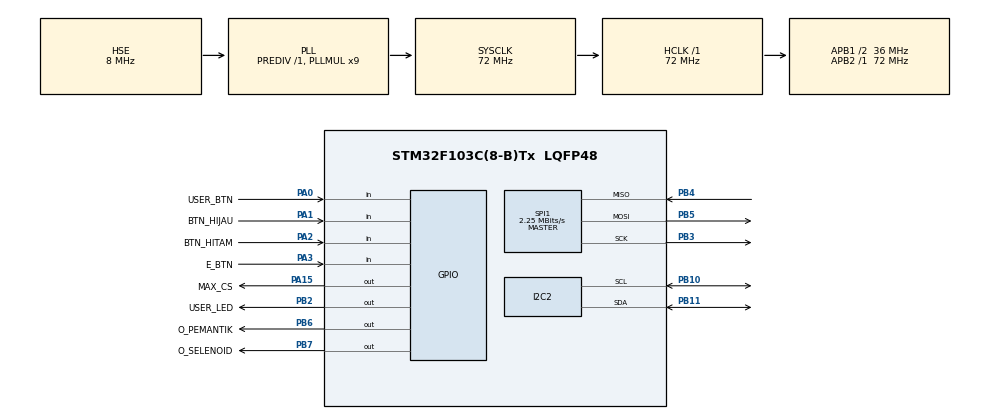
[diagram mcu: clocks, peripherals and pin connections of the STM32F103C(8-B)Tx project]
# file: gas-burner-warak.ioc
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ADC1.Channel-1\#ChannelRegularConversion=ADC_CHANNEL_TEMPSENSOR
ADC1.NbrOfConversionFlag=1
ADC1.Rank-1\#ChannelRegularConversion=1
ADC1.SamplingTime-1\#ChannelRegularConversion=ADC_SAMPLETIME_1CYCLE_5
ADC1.master=1
FREERTOS.Mutexes01=systemDataMutex,Dynamic,NULL,Available
FREERTOS.Tasks01=ReadTempTask,24,256,StartReadTempTask,Default,NULL,Dynamic,NULL,NULL;ControlTask,8,512,StartControlTask,Default,NULL,Dynamic,NULL,NULL;UpdateLCDTask,8,512,StartUpdateLCDTask,Default,NULL,Dynamic,NULL,NULL
FREERTOS.configMAX_TASK_NAME_LEN=32
FREERTOS.configTOTAL_HEAP_SIZE=8192
FREERTOS.configUSE_NEWLIB_REENTRANT=1
Mcu.Family=STM32F1
Mcu.Name=STM32F103C(8-B)Tx
Mcu.Package=LQFP48
NVIC.PriorityGroup=NVIC_PRIORITYGROUP_4
NVIC.TIM4_IRQn=true\:15\:0\:false\:false\:true\:false\:false\:true\:true
NVIC.TimeBase=TIM4_IRQn
NVIC.TimeBaseIP=TIM4
PA0-WKUP.GPIO_Label=USER_BTN
PA0-WKUP.GPIO_PuPd=GPIO_PULLDOWN
PA0-WKUP.Signal=GPIO_Input
PA1.GPIO_Label=BTN_HIJAU
PA1.GPIO_Mode=GPIO_MODE_INPUT
PA1.GPIO_PuPd=GPIO_PULLUP
PA1.Signal=GPIO_Input
PA13.Mode=Serial_Wire
PA13.Signal=SYS_JTMS-SWDIO
PA14.Mode=Serial_Wire
PA14.Signal=SYS_JTCK-SWCLK
PA15.GPIO_Label=MAX_CS
PA15.Signal=GPIO_Output
PA2.GPIO_Label=BTN_HITAM
PA2.GPIO_Mode=GPIO_MODE_INPUT
PA2.GPIO_PuPd=GPIO_PULLUP
PA2.Signal=GPIO_Input
PA3.GPIO_Label=E_BTN
PA3.GPIO_Mode=GPIO_MODE_INPUT
PA3.GPIO_PuPd=GPIO_PULLUP
PA3.Signal=GPIO_Input
PB10.Mode=I2C
PB10.Signal=I2C2_SCL
PB11.Mode=I2C
PB11.Signal=I2C2_SDA
PB2.GPIO_Label=USER_LED
PB2.Signal=GPIO_Output
PB3.Mode=Full_Duplex_Master
PB3.Signal=SPI1_SCK
PB4.Mode=Full_Duplex_Master
PB4.Signal=SPI1_MISO
PB5.Mode=Full_Duplex_Master
PB5.Signal=SPI1_MOSI
PB6.GPIO_Label=O_PEMANTIK
PB6.Signal=GPIO_Output
PB7.GPIO_Label=O_SELENOID
PB7.Signal=GPIO_Output
PC14-OSC32_IN.Mode=LSE-External-Oscillator
PC14-OSC32_IN.Signal=RCC_OSC32_IN
PC15-OSC32_OUT.Mode=LSE-External-Oscillator
PC15-OSC32_OUT.Signal=RCC_OSC32_OUT
PD0-OSC_IN.Mode=HSE-External-Oscillator
PD0-OSC_IN.Signal=RCC_OSC_IN
PD1-OSC_OUT.Mode=HSE-External-Oscillator
PD1-OSC_OUT.Signal=RCC_OSC_OUT
ProjectManager.HeapSize=0x200
ProjectManager.StackSize=0x400
ProjectManager.TargetToolchain=STM32CubeIDE
RCC.ADCPresc=RCC_ADCPCLK2_DIV6
RCC.AHBFreq_Value=72000000
RCC.APB1CLKDivider=RCC_HCLK_DIV2
RCC.APB1Freq_Value=36000000
RCC.APB1TimFreq_Value=72000000
RCC.APB2Freq_Value=72000000
RCC.APB2TimFreq_Value=72000000
RCC.HCLKFreq_Value=72000000
RCC.PLLMUL=RCC_PLL_MUL9
RCC.PLLSourceVirtual=RCC_PLLSOURCE_HSE
RCC.SYSCLKFreq_VALUE=72000000
RCC.SYSCLKSource=RCC_SYSCLKSOURCE_PLLCLK
RCC.USBFreq_Value=48000000
RCC.USBPrescaler=RCC_USBCLKSOURCE_PLL_DIV1_5
SPI1.BaudRatePrescaler=SPI_BAUDRATEPRESCALER_32
SPI1.CalculateBaudRate=2.25 MBits/s
SPI1.Direction=SPI_DIRECTION_2LINES
SPI1.Mode=SPI_MODE_MASTER
SPI1.VirtualType=VM_MASTER
VP_ADC1_TempSens_Input.Mode=IN-TempSens
VP_FREERTOS_VS_CMSIS_V2.Mode=CMSIS_V2
VP_SYS_VS_tim4.Mode=TIM4
board=custom

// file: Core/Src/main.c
/* USER CODE BEGIN Header */
/**
 ******************************************************************************
 * @file           : main.c
 * @brief          : Main program body
 ******************************************************************************
 * @attention
 *
 * Copyright (c) 2025 STMicroelectronics.
 * All rights reserved.
 *
 * This software is licensed under terms that can be found in the LICENSE file
 * in the root directory of this software component.
 * If no LICENSE file comes with this software, it is provided AS-IS.
 *
 ******************************************************************************
 */
/* USER CODE END Header */
#include "main.h"
#include "cmsis_os.h"

/* USER CODE BEGIN Includes */
#include "i2c-lcd.h"
#include "string.h"
#include "stdio.h"
/* USER CODE END Includes */

/* USER CODE BEGIN PD */
// --- Parameter Kontrol yang Dapat Disesuaikan ---
#define SET_POINT_TEMP 80.0f     // Setpoint suhu target dalam Celcius
#define HYSTERESIS 5.0f          // Histeresis untuk mencegah on/off terlalu cepat (pemanas menyala di bawah 75 C)
#define IGNITION_TIME_MS 3000    // Waktu pemantik menyala sebelum gas (3 detik)
#define IGNITION_OVERLAP_MS 1000 // Waktu pemantik & gas menyala bersamaan (1 detik)

/* USER CODE END PD */

ADC_HandleTypeDef hadc1;

I2C_HandleTypeDef hi2c2;

SPI_HandleTypeDef hspi1;

/* Definitions for ReadTempTask */
osThreadId_t ReadTempTaskHandle;
const osThreadAttr_t ReadTempTask_attributes = {
    .name = "ReadTempTask",
    .stack_size = 256 * 4,
    .priority = (osPriority_t)osPriorityNormal,
};
/* Definitions for ControlTask */
osThreadId_t ControlTaskHandle;
const osThreadAttr_t ControlTask_attributes = {
    .name = "ControlTask",
    .stack_size = 512 * 4,
    .priority = (osPriority_t)osPriorityLow,
};
/* Definitions for UpdateLCDTask */
osThreadId_t UpdateLCDTaskHandle;
const osThreadAttr_t UpdateLCDTask_attributes = {
    .name = "UpdateLCDTask",
    .stack_size = 512 * 4,
    .priority = (osPriority_t)osPriorityLow,
};
/* Definitions for systemDataMutex */
osMutexId_t systemDataMutexHandle;
const osMutexAttr_t systemDataMutex_attributes = {
    .name = "systemDataMutex"};
/* USER CODE BEGIN PV */

// --- Variabel Global yang Dishare antar Task ---
float currentTemperature = -1.0f;

typedef enum
{
  STATE_IDLE,
  STATE_IGNITING,
  STATE_HEATING,
  STATE_ERROR
} SystemState_t;

SystemState_t systemState = STATE_IDLE;

/* USER CODE END PV */

void SystemClock_Config(void);
static void MX_GPIO_Init(void);
static void MX_I2C2_Init(void);
static void MX_SPI1_Init(void);
static void MX_ADC1_Init(void);
void StartReadTempTask(void *argument);
void StartControlTask(void *argument);
void StartUpdateLCDTask(void *argument);

/* USER CODE BEGIN 0 */
void InitializeSystem()
{
  lcd_init(); // sudah diinisialisasi di main
  lcd_put_cur(0, 0);
  lcd_send_string("HELLO WORLD");
  lcd_put_cur(1, 0);
  lcd_send_string("from CTECH");

  HAL_GPIO_WritePin(O_PEMANTIK_GPIO_Port, O_PEMANTIK_Pin, GPIO_PIN_RESET);
  HAL_GPIO_WritePin(O_SELENOID_GPIO_Port, O_SELENOID_Pin, GPIO_PIN_RESET);

  osDelay(5000);
}
/* USER CODE END 0 */

int main(void)
{

  /* MCU Configuration--------------------------------------------------------*/

  /* Reset of all peripherals, Initializes the Flash interface and the Systick. */
  HAL_Init();

  /* Configure the system clock */
  SystemClock_Config();

  /* Initialize all configured peripherals */
  MX_GPIO_Init();
  MX_I2C2_Init();
  MX_SPI1_Init();
  MX_ADC1_Init();
  /* USER CODE BEGIN 2 */
  //  lcd_init();

  //// Display Number
  //  int num = 1234;
  //  char numChar[5];
  //  sprintf(numChar, "%d", num);
  //  lcd_put_cur(0, 0);
  //  lcd_send_string (numChar);

  //  lcd_init();
  //  float flt = 12.345;
  //  char fltChar[6];
  //  sprintf(fltChar, "%.3f", flt);
  //  lcd_put_cur(0, 0);
  //  lcd_send_string (fltChar);

  /* USER CODE END 2 */

  /* Init scheduler */
  osKernelInitialize();
  /* Create the mutex(es) */
  /* creation of systemDataMutex */
  systemDataMutexHandle = osMutexNew(&systemDataMutex_attributes);

  /* Create the thread(s) */
  /* creation of ReadTempTask */
  ReadTempTaskHandle = osThreadNew(StartReadTempTask, NULL, &ReadTempTask_attributes);

  /* creation of ControlTask */
  ControlTaskHandle = osThreadNew(StartControlTask, NULL, &ControlTask_attributes);

  /* creation of UpdateLCDTask */
  UpdateLCDTaskHandle = osThreadNew(StartUpdateLCDTask, NULL, &UpdateLCDTask_attributes);

  /* USER CODE BEGIN RTOS_THREADS */
  /* add threads, ... */
  if (ReadTempTaskHandle == NULL)
  {
    Error_Handler();
  }
  if (ControlTaskHandle == NULL)
  {
    Error_Handler();
  }
  if (UpdateLCDTaskHandle == NULL)
  {
    Error_Handler();
  }
  /* USER CODE END RTOS_THREADS */

  /* USER CODE BEGIN RTOS_EVENTS */
  /* add events, ... */
  // InitializeSystem();
  /* USER CODE END RTOS_EVENTS */

  /* Start scheduler */
  osKernelStart();

  /* We should never get here as control is now taken by the scheduler */

  /* Infinite loop */
  while (1)
  {

  }
}

void SystemClock_Config(void)
{
  RCC_OscInitTypeDef RCC_OscInitStruct = {0};
  RCC_ClkInitTypeDef RCC_ClkInitStruct = {0};
  RCC_PeriphCLKInitTypeDef PeriphClkInit = {0};

  /** Initializes the RCC Oscillators according to the specified parameters
   * in the RCC_OscInitTypeDef structure.
   */
  RCC_OscInitStruct.OscillatorType = RCC_OSCILLATORTYPE_HSE;
  RCC_OscInitStruct.HSEState = RCC_HSE_ON;
  RCC_OscInitStruct.HSEPredivValue = RCC_HSE_PREDIV_DIV1;
  RCC_OscInitStruct.HSIState = RCC_HSI_ON;
  RCC_OscInitStruct.PLL.PLLState = RCC_PLL_ON;
  RCC_OscInitStruct.PLL.PLLSource = RCC_PLLSOURCE_HSE;
  RCC_OscInitStruct.PLL.PLLMUL = RCC_PLL_MUL9;
  if (HAL_RCC_OscConfig(&RCC_OscInitStruct) != HAL_OK)
  {
    Error_Handler();
  }

  /** Initializes the CPU, AHB and APB buses clocks
   */
  RCC_ClkInitStruct.ClockType = RCC_CLOCKTYPE_HCLK | RCC_CLOCKTYPE_SYSCLK | RCC_CLOCKTYPE_PCLK1 | RCC_CLOCKTYPE_PCLK2;
  RCC_ClkInitStruct.SYSCLKSource = RCC_SYSCLKSOURCE_PLLCLK;
  RCC_ClkInitStruct.AHBCLKDivider = RCC_SYSCLK_DIV1;
  RCC_ClkInitStruct.APB1CLKDivider = RCC_HCLK_DIV2;
  RCC_ClkInitStruct.APB2CLKDivider = RCC_HCLK_DIV1;

  if (HAL_RCC_ClockConfig(&RCC_ClkInitStruct, FLASH_LATENCY_2) != HAL_OK)
  {
    Error_Handler();
  }
  PeriphClkInit.PeriphClockSelection = RCC_PERIPHCLK_ADC;
  PeriphClkInit.AdcClockSelection = RCC_ADCPCLK2_DIV6;
  if (HAL_RCCEx_PeriphCLKConfig(&PeriphClkInit) != HAL_OK)
  {
    Error_Handler();
  }
}

static void MX_ADC1_Init(void)
{

  ADC_ChannelConfTypeDef sConfig = {0};

  /** Common config
   */
  hadc1.Instance = ADC1;
  hadc1.Init.ScanConvMode = ADC_SCAN_DISABLE;
  hadc1.Init.ContinuousConvMode = DISABLE;
  hadc1.Init.DiscontinuousConvMode = DISABLE;
  hadc1.Init.ExternalTrigConv = ADC_SOFTWARE_START;
  hadc1.Init.DataAlign = ADC_DATAALIGN_RIGHT;
  hadc1.Init.NbrOfConversion = 1;
  if (HAL_ADC_Init(&hadc1) != HAL_OK)
  {
    Error_Handler();
  }

  /** Configure Regular Channel
   */
  sConfig.Channel = ADC_CHANNEL_TEMPSENSOR;
  sConfig.Rank = ADC_REGULAR_RANK_1;
  sConfig.SamplingTime = ADC_SAMPLETIME_1CYCLE_5;
  if (HAL_ADC_ConfigChannel(&hadc1, &sConfig) != HAL_OK)
  {
    Error_Handler();
  }
}

static void MX_I2C2_Init(void)
{

  hi2c2.Instance = I2C2;
  hi2c2.Init.ClockSpeed = 100000;
  hi2c2.Init.DutyCycle = I2C_DUTYCYCLE_2;
  hi2c2.Init.OwnAddress1 = 0;
  hi2c2.Init.AddressingMode = I2C_ADDRESSINGMODE_7BIT;
  hi2c2.Init.DualAddressMode = I2C_DUALADDRESS_DISABLE;
  hi2c2.Init.OwnAddress2 = 0;
  hi2c2.Init.GeneralCallMode = I2C_GENERALCALL_DISABLE;
  hi2c2.Init.NoStretchMode = I2C_NOSTRETCH_DISABLE;
  if (HAL_I2C_Init(&hi2c2) != HAL_OK)
  {
    Error_Handler();
  }
}

static void MX_SPI1_Init(void)
{

  /* SPI1 parameter configuration*/
  hspi1.Instance = SPI1;
  hspi1.Init.Mode = SPI_MODE_MASTER;
  hspi1.Init.Direction = SPI_DIRECTION_2LINES;
  hspi1.Init.DataSize = SPI_DATASIZE_8BIT;
  hspi1.Init.CLKPolarity = SPI_POLARITY_LOW;
  hspi1.Init.CLKPhase = SPI_PHASE_1EDGE;
  hspi1.Init.NSS = SPI_NSS_SOFT;
  hspi1.Init.BaudRatePrescaler = SPI_BAUDRATEPRESCALER_32;
  hspi1.Init.FirstBit = SPI_FIRSTBIT_MSB;
  hspi1.Init.TIMode = SPI_TIMODE_DISABLE;
  hspi1.Init.CRCCalculation = SPI_CRCCALCULATION_DISABLE;
  hspi1.Init.CRCPolynomial = 10;
  if (HAL_SPI_Init(&hspi1) != HAL_OK)
  {
    Error_Handler();
  }
}

static void MX_GPIO_Init(void)
{
  GPIO_InitTypeDef GPIO_InitStruct = {0};

  /* GPIO Ports Clock Enable */
  __HAL_RCC_GPIOC_CLK_ENABLE();
  __HAL_RCC_GPIOD_CLK_ENABLE();
  __HAL_RCC_GPIOA_CLK_ENABLE();
  __HAL_RCC_GPIOB_CLK_ENABLE();

  /*Configure GPIO pin Output Level */
  HAL_GPIO_WritePin(GPIOB, USER_LED_Pin | O_PEMANTIK_Pin | O_SELENOID_Pin, GPIO_PIN_RESET);

  /*Configure GPIO pin Output Level */
  HAL_GPIO_WritePin(MAX_CS_GPIO_Port, MAX_CS_Pin, GPIO_PIN_RESET);

  /*Configure GPIO pin : USER_BTN_Pin */
  GPIO_InitStruct.Pin = USER_BTN_Pin;
  GPIO_InitStruct.Mode = GPIO_MODE_INPUT;
  GPIO_InitStruct.Pull = GPIO_PULLDOWN;
  HAL_GPIO_Init(USER_BTN_GPIO_Port, &GPIO_InitStruct);

  /*Configure GPIO pins : BTN_HIJAU_Pin BTN_HITAM_Pin E_BTN_Pin */
  GPIO_InitStruct.Pin = BTN_HIJAU_Pin | BTN_HITAM_Pin | E_BTN_Pin;
  GPIO_InitStruct.Mode = GPIO_MODE_INPUT;
  GPIO_InitStruct.Pull = GPIO_PULLUP;
  HAL_GPIO_Init(GPIOA, &GPIO_InitStruct);

  /*Configure GPIO pins : USER_LED_Pin O_PEMANTIK_Pin O_SELENOID_Pin */
  GPIO_InitStruct.Pin = USER_LED_Pin | O_PEMANTIK_Pin | O_SELENOID_Pin;
  GPIO_InitStruct.Mode = GPIO_MODE_OUTPUT_PP;
  GPIO_InitStruct.Pull = GPIO_NOPULL;
  GPIO_InitStruct.Speed = GPIO_SPEED_FREQ_LOW;
  HAL_GPIO_Init(GPIOB, &GPIO_InitStruct);

  /*Configure GPIO pin : MAX_CS_Pin */
  GPIO_InitStruct.Pin = MAX_CS_Pin;
  GPIO_InitStruct.Mode = GPIO_MODE_OUTPUT_PP;
  GPIO_InitStruct.Pull = GPIO_NOPULL;
  GPIO_InitStruct.Speed = GPIO_SPEED_FREQ_LOW;
  HAL_GPIO_Init(MAX_CS_GPIO_Port, &GPIO_InitStruct);

}

void StartReadTempTask(void *argument)
{
  /* USER CODE BEGIN 5 */
  uint8_t spiData[2];
  uint16_t rawTemp;
  /* Infinite loop */
  for (;;)
  {
    HAL_GPIO_WritePin(MAX_CS_GPIO_Port, MAX_CS_Pin, GPIO_PIN_RESET);
    osDelay(10); // Menggunakan osDelay

    if (HAL_SPI_Receive(&hspi1, spiData, 2, HAL_MAX_DELAY) == HAL_OK)
    {
      HAL_GPIO_WritePin(MAX_CS_GPIO_Port, MAX_CS_Pin, GPIO_PIN_SET);
      rawTemp = (spiData[0] << 8) | spiData[1];

      // Menggunakan osMutexWait untuk mengambil mutex
      if (osMutexWait(systemDataMutexHandle, osWaitForever) == osOK)
      {
        if (rawTemp & 0x04)
        {
          systemState = STATE_ERROR;
          currentTemperature = -1.0f;
        }
        else
        {
          currentTemperature = (rawTemp >> 3) * 0.25f;
          if (systemState == STATE_ERROR)
          {
            systemState = STATE_IDLE;
          }
        }
        osMutexRelease(systemDataMutexHandle); // Melepaskan mutex
      }
    }
    else
    {
      HAL_GPIO_WritePin(MAX_CS_GPIO_Port, MAX_CS_Pin, GPIO_PIN_SET);
      if (osMutexWait(systemDataMutexHandle, osWaitForever) == osOK)
      {
        systemState = STATE_ERROR;
        osMutexRelease(systemDataMutexHandle);
      }
    }
    osDelay(500); // Jeda task
  }
  /* USER CODE END 5 */
}

void StartControlTask(void *argument)
{
  /* USER CODE BEGIN StartControlTask */
  float temp;
  SystemState_t localState;
  /* Infinite loop */
  for (;;)
  {
    if (osMutexWait(systemDataMutexHandle, osWaitForever) == osOK)
    {
      temp = currentTemperature;
      localState = systemState;
      osMutexRelease(systemDataMutexHandle);
    }

    switch (localState)
    {
    case STATE_IDLE:
      if (temp < (SET_POINT_TEMP - HYSTERESIS) && temp >= 0)
      {
        if (osMutexWait(systemDataMutexHandle, osWaitForever) == osOK)
        {
          systemState = STATE_IGNITING;
          osMutexRelease(systemDataMutexHandle);
        }
      }
      break;

    case STATE_IGNITING:
      HAL_GPIO_WritePin(O_PEMANTIK_GPIO_Port, O_PEMANTIK_Pin, GPIO_PIN_SET);
      HAL_GPIO_WritePin(O_SELENOID_GPIO_Port, O_SELENOID_Pin, GPIO_PIN_RESET);
      osDelay(IGNITION_TIME_MS);

      HAL_GPIO_WritePin(O_SELENOID_GPIO_Port, O_SELENOID_Pin, GPIO_PIN_SET);
      osDelay(IGNITION_OVERLAP_MS);

      HAL_GPIO_WritePin(O_PEMANTIK_GPIO_Port, O_PEMANTIK_Pin, GPIO_PIN_RESET);

      if (osMutexWait(systemDataMutexHandle, osWaitForever) == osOK)
      {
        systemState = STATE_HEATING;
        osMutexRelease(systemDataMutexHandle);
      }
      break;

    case STATE_HEATING:
      if (temp >= SET_POINT_TEMP)
      {
        HAL_GPIO_WritePin(O_SELENOID_GPIO_Port, O_SELENOID_Pin, GPIO_PIN_RESET);
        HAL_GPIO_WritePin(O_PEMANTIK_GPIO_Port, O_PEMANTIK_Pin, GPIO_PIN_RESET);
        if (osMutexWait(systemDataMutexHandle, osWaitForever) == osOK)
        {
          systemState = STATE_IDLE;
          osMutexRelease(systemDataMutexHandle);
        }
      }
      break;

    case STATE_ERROR:
      HAL_GPIO_WritePin(O_SELENOID_GPIO_Port, O_SELENOID_Pin, GPIO_PIN_RESET);
      HAL_GPIO_WritePin(O_PEMANTIK_GPIO_Port, O_PEMANTIK_Pin, GPIO_PIN_RESET);
      break;
    }
    osDelay(200);
  }
  /* USER CODE END StartControlTask */
}

void StartUpdateLCDTask(void *argument)
{
  /* USER CODE BEGIN StartUpdateLCDTask */
  char tempStr[17];
  char statusStr[17];
  float temp;
  SystemState_t localState;

  InitializeSystem();

  /* Infinite loop */
  for (;;)
  {
    if (osMutexWait(systemDataMutexHandle, osWaitForever) == osOK)
    {
      temp = currentTemperature;
      localState = systemState;
      osMutexRelease(systemDataMutexHandle);
    }

    if (temp < 0)
    {
      sprintf(tempStr, "Suhu: --- C  ");
    }
    else
    {
      sprintf(tempStr, "Suhu: %.1f C", temp);
    }
    sprintf(statusStr, "Set:%.0f  Sts:", SET_POINT_TEMP);

    switch (localState)
    {
    case STATE_IDLE:
      strcat(statusStr, "IDLE ");
      break;
    case STATE_IGNITING:
      strcat(statusStr, "IGNIT");
      break;
    case STATE_HEATING:
      strcat(statusStr, "HEAT ");
      break;
    case STATE_ERROR:
      sprintf(statusStr, "!!SENSOR ERROR!!");
      break;
    }

    lcd_put_cur(0, 0);
    lcd_send_string(tempStr);
    lcd_put_cur(0, 1);
    lcd_send_string(statusStr);

    osDelay(1000);
  }
  /* USER CODE END StartUpdateLCDTask */
}

void HAL_TIM_PeriodElapsedCallback(TIM_HandleTypeDef *htim)
{
  if (htim->Instance == TIM4)
  {
    HAL_IncTick();
  }
}

void Error_Handler(void)
{
  /* USER CODE BEGIN Error_Handler_Debug */
  /* User can add his own implementation to report the HAL error return state */
  __disable_irq();
  while (1)
  {
    // Stay in this loop to indicate an error
    // You can also toggle an LED or send a message to the LCD here
    HAL_GPIO_TogglePin(USER_LED_GPIO_Port, USER_LED_Pin);
    osDelay(500); // Delay to make the error indication visible
  }
  /* USER CODE END Error_Handler_Debug */
}
